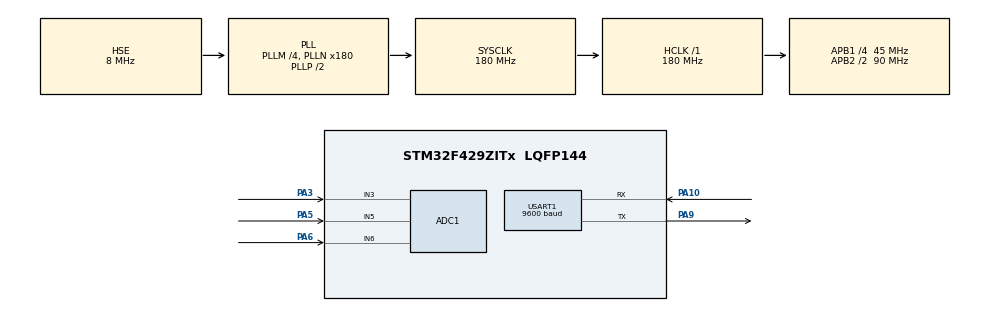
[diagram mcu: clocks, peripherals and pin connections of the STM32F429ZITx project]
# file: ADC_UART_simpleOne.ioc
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ADC1.Channel-0\#ChannelRegularConversion=ADC_CHANNEL_5
ADC1.Channel-1\#ChannelRegularConversion=ADC_CHANNEL_6
ADC1.Channel-2\#ChannelRegularConversion=ADC_CHANNEL_3
ADC1.Channel-3\#ChannelRegularConversion=ADC_CHANNEL_TEMPSENSOR
ADC1.ContinuousConvMode=DISABLE
ADC1.DiscontinuousConvMode=ENABLE
ADC1.NbrOfConversion=4
ADC1.NbrOfConversionFlag=1
ADC1.Rank-0\#ChannelRegularConversion=1
ADC1.Rank-1\#ChannelRegularConversion=2
ADC1.Rank-2\#ChannelRegularConversion=3
ADC1.Rank-3\#ChannelRegularConversion=4
ADC1.SamplingTime-0\#ChannelRegularConversion=ADC_SAMPLETIME_28CYCLES
ADC1.SamplingTime-1\#ChannelRegularConversion=ADC_SAMPLETIME_28CYCLES
ADC1.SamplingTime-2\#ChannelRegularConversion=ADC_SAMPLETIME_28CYCLES
ADC1.SamplingTime-3\#ChannelRegularConversion=ADC_SAMPLETIME_28CYCLES
ADC1.ScanConvMode=ENABLE
ADC1.master=1
Mcu.Family=STM32F4
Mcu.Name=STM32F429ZITx
Mcu.Package=LQFP144
NVIC.ADC_IRQn=true\:0\:0\:false\:false\:true\:true\:true\:true
NVIC.PriorityGroup=NVIC_PRIORITYGROUP_4
NVIC.USART1_IRQn=true\:0\:0\:false\:true\:true\:1\:true\:true\:true
PA10.Mode=Asynchronous
PA10.Signal=USART1_RX
PA3.Signal=ADCx_IN3
PA5.Signal=ADCx_IN5
PA6.Signal=ADCx_IN6
PA9.Mode=Asynchronous
PA9.Signal=USART1_TX
PH0/OSC_IN.Mode=HSE-External-Oscillator
PH0/OSC_IN.Signal=RCC_OSC_IN
PH1/OSC_OUT.Mode=HSE-External-Oscillator
PH1/OSC_OUT.Signal=RCC_OSC_OUT
ProjectManager.HeapSize=0x200
ProjectManager.StackSize=0x400
ProjectManager.TargetToolchain=STM32CubeIDE
RCC.48MHZClocksFreq_Value=90000000
RCC.AHBFreq_Value=180000000
RCC.APB1CLKDivider=RCC_HCLK_DIV4
RCC.APB1Freq_Value=45000000
RCC.APB1TimFreq_Value=90000000
RCC.APB2CLKDivider=RCC_HCLK_DIV2
RCC.APB2Freq_Value=90000000
RCC.APB2TimFreq_Value=180000000
RCC.CortexFreq_Value=180000000
RCC.HCLKFreq_Value=180000000
RCC.HSE_VALUE=8000000
RCC.HSI_VALUE=16000000
RCC.LSE_VALUE=32768
RCC.PLLM=4
RCC.PLLN=180
RCC.PLLSourceVirtual=RCC_PLLSOURCE_HSE
RCC.SYSCLKFreq_VALUE=180000000
RCC.SYSCLKSource=RCC_SYSCLKSOURCE_PLLCLK
RCC.VCOOutputFreq_Value=360000000
SH.ADCx_IN3.0=ADC1_IN3,IN3
SH.ADCx_IN5.0=ADC1_IN5,IN5
SH.ADCx_IN6.0=ADC1_IN6,IN6
USART1.BaudRate=9600
USART1.VirtualMode=VM_ASYNC
VP_ADC1_TempSens_Input.Mode=IN-TempSens
board=custom

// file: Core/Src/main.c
/* USER CODE BEGIN Header */
/**
  ******************************************************************************
  * @file           : main.c
  * @brief          : Main program body
  ******************************************************************************
  * @attention
  *
  * Copyright (c) 2022 STMicroelectronics.
  * All rights reserved.
  *
  * This software is licensed under terms that can be found in the LICENSE file
  * in the root directory of this software component.
  * If no LICENSE file comes with this software, it is provided AS-IS.
  *
  ******************************************************************************
  */
/* USER CODE END Header */
#include "main.h"

/* USER CODE BEGIN Includes */
#include "stdio.h"
#include "string.h"
#include "stdlib.h"
/* USER CODE END Includes */

ADC_HandleTypeDef hadc1;

UART_HandleTypeDef huart1;

/* USER CODE BEGIN PV */
uint8_t RxBuffer[0xff];

uint16_t adcVal[4];

uint8_t* adcChar[4];

uint8_t charBuffer[8];

uint8_t i=0;

int __io_putchar (int ch)
{
  (void)HAL_UART_Transmit(&huart1, (uint8_t*)&ch, 1, 100);
  return ch;
}
/* USER CODE END PV */

void SystemClock_Config(void);
static void MX_GPIO_Init(void);
static void MX_ADC1_Init(void);
static void MX_USART1_UART_Init(void);
static void MX_NVIC_Init(void);

int main(void)
{

  /* MCU Configuration--------------------------------------------------------*/

  /* Reset of all peripherals, Initializes the Flash interface and the Systick. */
  HAL_Init();

  /* Configure the system clock */
  SystemClock_Config();

  /* Initialize all configured peripherals */
  MX_GPIO_Init();
  MX_ADC1_Init();
  MX_USART1_UART_Init();

  /* Initialize interrupts */
  MX_NVIC_Init();
  /* USER CODE BEGIN 2 */
  HAL_UART_Receive_IT(&huart1,RxBuffer,1);

  HAL_ADC_Start_IT(&hadc1);

  /* USER CODE END 2 */

  /* Infinite loop */
  /* USER CODE BEGIN WHILE */

  while (1)
  {

	  HAL_ADC_Start(&hadc1);
	  HAL_ADC_PollForConversion(&hadc1,HAL_MAX_DELAY);

	  HAL_ADC_Start(&hadc1);
	  HAL_ADC_PollForConversion(&hadc1,HAL_MAX_DELAY);

	  HAL_ADC_Start(&hadc1);
	  HAL_ADC_PollForConversion(&hadc1,HAL_MAX_DELAY);

	  HAL_ADC_Start(&hadc1);
	  HAL_ADC_PollForConversion(&hadc1,HAL_MAX_DELAY);

	  //printf("pa5:%s \r\n",adcChar[0]);
	  //HAL_UART_Transmit(&huart1,"\r\n",3,5000);
	 // printf("pa5:%d pa4:%d pa3:%d \r\n",adcVal[0],adcVal[1],adcVal[2]);

	  HAL_Delay(10);

    /* USER CODE END WHILE */

  }
}

void SystemClock_Config(void)
{
  RCC_OscInitTypeDef RCC_OscInitStruct = {0};
  RCC_ClkInitTypeDef RCC_ClkInitStruct = {0};

  /** Configure the main internal regulator output voltage
  */
  __HAL_RCC_PWR_CLK_ENABLE();
  __HAL_PWR_VOLTAGESCALING_CONFIG(PWR_REGULATOR_VOLTAGE_SCALE1);

  /** Initializes the RCC Oscillators according to the specified parameters
  * in the RCC_OscInitTypeDef structure.
  */
  RCC_OscInitStruct.OscillatorType = RCC_OSCILLATORTYPE_HSE;
  RCC_OscInitStruct.HSEState = RCC_HSE_ON;
  RCC_OscInitStruct.PLL.PLLState = RCC_PLL_ON;
  RCC_OscInitStruct.PLL.PLLSource = RCC_PLLSOURCE_HSE;
  RCC_OscInitStruct.PLL.PLLM = 4;
  RCC_OscInitStruct.PLL.PLLN = 180;
  RCC_OscInitStruct.PLL.PLLP = RCC_PLLP_DIV2;
  RCC_OscInitStruct.PLL.PLLQ = 4;
  if (HAL_RCC_OscConfig(&RCC_OscInitStruct) != HAL_OK)
  {
    Error_Handler();
  }

  /** Activate the Over-Drive mode
  */
  if (HAL_PWREx_EnableOverDrive() != HAL_OK)
  {
    Error_Handler();
  }

  /** Initializes the CPU, AHB and APB buses clocks
  */
  RCC_ClkInitStruct.ClockType = RCC_CLOCKTYPE_HCLK|RCC_CLOCKTYPE_SYSCLK
                              |RCC_CLOCKTYPE_PCLK1|RCC_CLOCKTYPE_PCLK2;
  RCC_ClkInitStruct.SYSCLKSource = RCC_SYSCLKSOURCE_PLLCLK;
  RCC_ClkInitStruct.AHBCLKDivider = RCC_SYSCLK_DIV1;
  RCC_ClkInitStruct.APB1CLKDivider = RCC_HCLK_DIV4;
  RCC_ClkInitStruct.APB2CLKDivider = RCC_HCLK_DIV2;

  if (HAL_RCC_ClockConfig(&RCC_ClkInitStruct, FLASH_LATENCY_5) != HAL_OK)
  {
    Error_Handler();
  }
}

/**
  * @brief NVIC Configuration.
  * @retval None
  */
static void MX_NVIC_Init(void)
{
  /* USART1_IRQn interrupt configuration */
  HAL_NVIC_SetPriority(USART1_IRQn, 0, 0);
  HAL_NVIC_EnableIRQ(USART1_IRQn);
}

static void MX_ADC1_Init(void)
{

  ADC_ChannelConfTypeDef sConfig = {0};

  /** Configure the global features of the ADC (Clock, Resolution, Data Alignment and number of conversion)
  */
  hadc1.Instance = ADC1;
  hadc1.Init.ClockPrescaler = ADC_CLOCK_SYNC_PCLK_DIV4;
  hadc1.Init.Resolution = ADC_RESOLUTION_12B;
  hadc1.Init.ScanConvMode = ENABLE;
  hadc1.Init.ContinuousConvMode = DISABLE;
  hadc1.Init.DiscontinuousConvMode = ENABLE;
  hadc1.Init.NbrOfDiscConversion = 1;
  hadc1.Init.ExternalTrigConvEdge = ADC_EXTERNALTRIGCONVEDGE_NONE;
  hadc1.Init.ExternalTrigConv = ADC_SOFTWARE_START;
  hadc1.Init.DataAlign = ADC_DATAALIGN_RIGHT;
  hadc1.Init.NbrOfConversion = 4;
  hadc1.Init.DMAContinuousRequests = DISABLE;
  hadc1.Init.EOCSelection = ADC_EOC_SINGLE_CONV;
  if (HAL_ADC_Init(&hadc1) != HAL_OK)
  {
    Error_Handler();
  }

  /** Configure for the selected ADC regular channel its corresponding rank in the sequencer and its sample time.
  */
  sConfig.Channel = ADC_CHANNEL_5;
  sConfig.Rank = 2;
  sConfig.SamplingTime = ADC_SAMPLETIME_84CYCLES;
  if (HAL_ADC_ConfigChannel(&hadc1, &sConfig) != HAL_OK)
  {
    Error_Handler();
  }

  /** Configure for the selected ADC regular channel its corresponding rank in the sequencer and its sample time.
  */
  sConfig.Channel = ADC_CHANNEL_6;
  sConfig.Rank = 3;
  if (HAL_ADC_ConfigChannel(&hadc1, &sConfig) != HAL_OK)
  {
    Error_Handler();
  }

  /** Configure for the selected ADC regular channel its corresponding rank in the sequencer and its sample time.
  */
  sConfig.Channel = ADC_CHANNEL_3;
  sConfig.Rank = 1;
  if (HAL_ADC_ConfigChannel(&hadc1, &sConfig) != HAL_OK)
  {
    Error_Handler();
  }

  /** Configure for the selected ADC regular channel its corresponding rank in the sequencer and its sample time.
  */
  sConfig.Channel = ADC_CHANNEL_TEMPSENSOR;
  sConfig.Rank = 4;
  if (HAL_ADC_ConfigChannel(&hadc1, &sConfig) != HAL_OK)
  {
    Error_Handler();
  }

}

static void MX_USART1_UART_Init(void)
{

  huart1.Instance = USART1;
  huart1.Init.BaudRate = 9600;
  huart1.Init.WordLength = UART_WORDLENGTH_8B;
  huart1.Init.StopBits = UART_STOPBITS_1;
  huart1.Init.Parity = UART_PARITY_NONE;
  huart1.Init.Mode = UART_MODE_TX_RX;
  huart1.Init.HwFlowCtl = UART_HWCONTROL_NONE;
  huart1.Init.OverSampling = UART_OVERSAMPLING_16;
  if (HAL_UART_Init(&huart1) != HAL_OK)
  {
    Error_Handler();
  }

}

static void MX_GPIO_Init(void)
{

  /* GPIO Ports Clock Enable */
  __HAL_RCC_GPIOH_CLK_ENABLE();
  __HAL_RCC_GPIOA_CLK_ENABLE();

}

/* USER CODE BEGIN 4 */

void HAL_ADC_ConvCpltCallback(ADC_HandleTypeDef* hadc)
{

	adcVal[i] = HAL_ADC_GetValue(&hadc1);
	itoa(adcVal[i],charBuffer,10);
	adcChar[i]=(uint8_t*)malloc(sizeof(charBuffer));
	strcpy(adcChar[i],charBuffer);
	memset(charBuffer,0,8);

	switch(i)
	{
	case 0:
		HAL_UART_Transmit(&huart1,"pa3:",4,5000);
		HAL_UART_Transmit(&huart1,adcChar[0],sizeof(adcChar[0]),5000);
		HAL_UART_Transmit(&huart1,",",1,5000);
		break;
	case 1:
		HAL_UART_Transmit(&huart1,"pa5:",4,5000);
		HAL_UART_Transmit(&huart1,adcChar[1],sizeof(adcChar[1]),5000);
		HAL_UART_Transmit(&huart1,",",1,5000);
		break;

	case 2:
		HAL_UART_Transmit(&huart1,"pa6:",4,5000);
		HAL_UART_Transmit(&huart1,adcChar[2],sizeof(adcChar[2]),5000);
		HAL_UART_Transmit(&huart1,",",1,5000);
		break;

	case 3:
		HAL_UART_Transmit(&huart1,"temp:",5,5000);
		HAL_UART_Transmit(&huart1,adcChar[3],sizeof(adcChar[3]),5000);
		HAL_UART_Transmit(&huart1,"\r\n",2,5000);
		HAL_ADC_Stop(&hadc1);
		break;
	}

	i++;

	if(i>3)
		i=0;

  HAL_ADC_Start_IT(&hadc1);
}

void HAL_UART_RxCpltCallback(UART_HandleTypeDef *huart)
{

	if (huart->Instance == huart1.Instance) {

		HAL_UART_Transmit(&huart1,RxBuffer,1,5000);

	    HAL_UART_Receive_IT(&huart1, RxBuffer, 1);

	  }
	//HAL_UART_Transmit(&huart1,RxBuffer,10,5000);
}
/* USER CODE END 4 */

void Error_Handler(void)
{
  __disable_irq();
  while (1)
  {
  }
}
